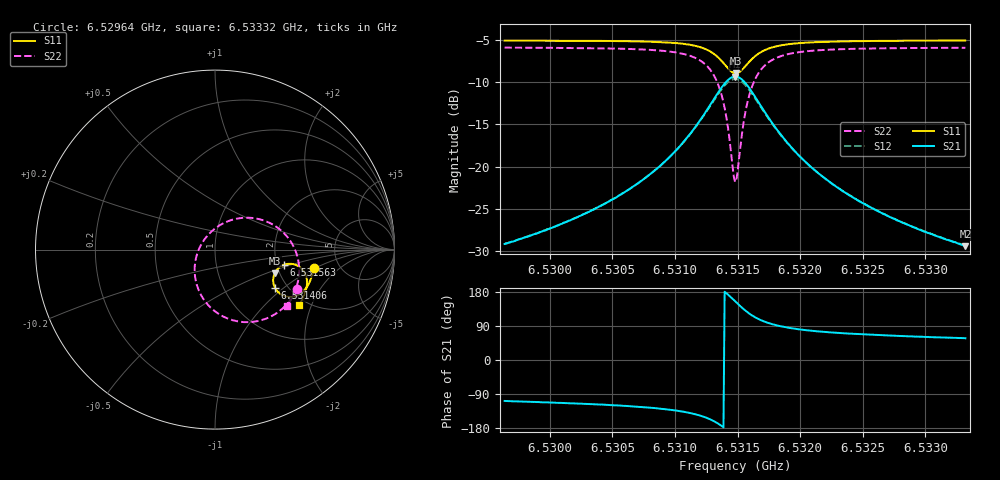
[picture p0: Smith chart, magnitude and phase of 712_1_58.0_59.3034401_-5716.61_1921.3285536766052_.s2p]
#  HZ  S  RI  R  50.00
! Rohde & Schwarz Vector Network Analyzer
! Rohde-Schwarz,ZNB20-2Port,1311601062101988,3.16
! Created: UTC 3/21/2024, 1:22:13 AM
! freq[Hz]  re:S11  im:S11  re:S21  im:S21  re:S12  im:S12  re:S22  im:S22
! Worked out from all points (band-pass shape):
!   401 points, 6.52964 GHz to 6.53332 GHz, reference 50 ohm
!   highest |S21| = -9.30 dB at 6.53148 GHz (marker M1); lowest = -29.5 dB at 6.53332 GHz (marker M2)
!   |S21| within 3 dB of the highest: 6.531298 GHz to 6.531665 GHz (367.5 kHz wide, 0.00563 % of centre)
!   lowest |S11| = -8.9 dB at 6.531489 GHz (marker M3), VSWR 2.12, Z = 94.2 - j28.6 ohm
!   |S11| at or under -10 dB: nowhere
!   |S22| runs from -21.8 to -5.9 dB; largest |S21 - S12| = 0.014
!   S11 on the Smith chart (normalised r, x): 6.52964 GHz: 3.23, -0.97; 6.531406 GHz: 1.72, -0.88; 6.531563 GHz: 2.20, -0.44; 6.53332 GHz: 1.82, -1.64
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6.5296399e9  0.5507 -0.1027  -0.0107 -0.0329  -0.0116 -0.0327  0.4581 -0.2222
6.5302563e9  0.5371 -0.1548  -0.0221 -0.0465  -0.0232 -0.0459  0.4213 -0.2803
6.5305875e9  0.5241 -0.1866  -0.0356 -0.0597  -0.0373 -0.0588  0.3855 -0.32
6.5308726e9  0.5043 -0.2188  -0.0612 -0.0784  -0.0636 -0.0766  0.3276 -0.3636
6.5310934e9  0.4718 -0.2485  -0.1094 -0.0984  -0.1124 -0.0941  0.2315 -0.3997
6.5312498e9  0.421 -0.2639  -0.1885 -0.0994  -0.1904 -0.091  0.0884 -0.3902
6.5313418e9  0.3706 -0.2512  -0.2662 -0.0607  -0.2632 -0.0492  -0.0373 -0.3096
6.5313786e9  0.3486 -0.2337  -0.298 -0.0241  -0.2917 -0.0126  -0.0836 -0.242
6.5314062e9  0.3347 -0.2139  -0.3167 0.0137  -0.3076 0.0243  -0.1068 -0.1753
6.5314614e9  0.3247 -0.1605  -0.3221 0.11  -0.309 0.115  -0.0971 -0.0165
6.5314798e9  0.3289 -0.1415  -0.3115 0.143  -0.2978 0.1457  -0.073 0.035
6.531489e9  0.3326 -0.1324  -0.3036 0.1586  -0.29 0.1601  -0.0572 0.0589
6.5315074e9  0.3426 -0.1157  -0.2833 0.1869  -0.2708 0.1861  -0.0195 0.1012
6.5315626e9  0.3859 -0.084  -0.2036 0.2388  -0.1953 0.2343  0.1204 0.1723
6.5315902e9  0.409 -0.0791  -0.1628 0.2464  -0.1567 0.2417  0.1892 0.1775
6.531627e9  0.4364 -0.0811  -0.1154 0.2431  -0.1115 0.2388  0.2679 0.1635
6.531719e9  0.4811 -0.105  -0.0394 0.2062  -0.0378 0.2039  0.3905 0.0852
6.531857e9  0.5066 -0.1448  0.00488 0.1506  0.00612 0.1498  0.4551 -0.0254
6.5320962e9  0.5126 -0.1923  0.0221 0.0955  0.0233 0.0951  0.4681 -0.1375
6.5323722e9  0.5061 -0.2282  0.0236 0.065  0.0246 0.0646  0.455 -0.2059
6.5327126e9  0.4941 -0.2611  0.0216 0.0453  0.0225 0.0451  0.4346 -0.2568
6.5333198e9  0.4695 -0.3081  0.0181 0.0283  0.0188 0.0282  0.399 -0.3145
